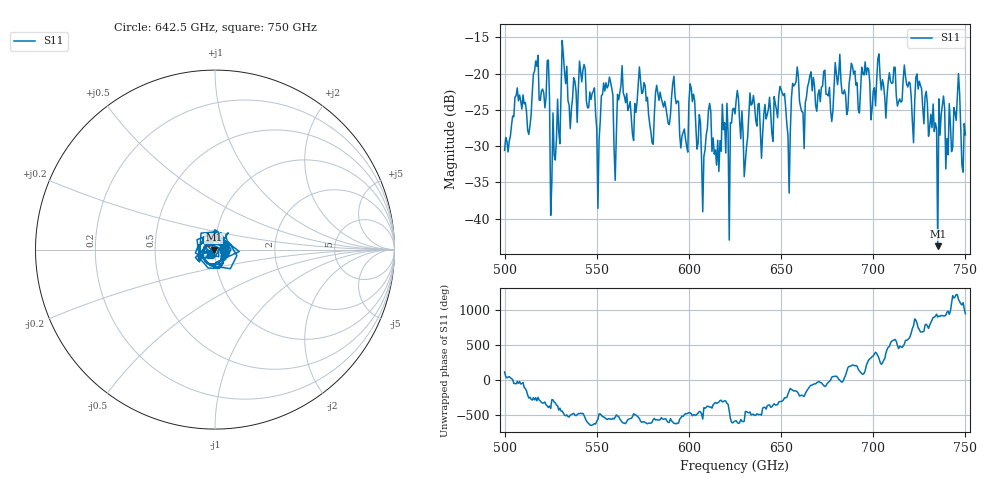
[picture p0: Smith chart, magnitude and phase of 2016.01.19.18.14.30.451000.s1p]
!Created with skrf (http://scikit-rf.org).
# GHz S RI R 50.0
!freq ReS11 ImS11
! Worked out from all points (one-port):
!   401 points, 500 GHz to 750 GHz, reference 50 ohm
!   lowest |S11| = -43.8 dB at 735 GHz (marker M1), VSWR 1.01, Z = 49.4 + j0.00277 ohm
!   |S11| at or under -10 dB: start of sweep to end of sweep
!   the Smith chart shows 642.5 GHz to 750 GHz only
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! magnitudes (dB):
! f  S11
! 500 GHz  -30.6
! 506.9 GHz  -22.0
! 513.1 GHz  -28.4
! 516.9 GHz  -18.3
! 523.1 GHz  -18.2
! 526.2 GHz  -25.4
! 531.2 GHz  -15.4
! 542.5 GHz  -19.5
! 550.6 GHz  -38.6
! 553.8 GHz  -21.3
! 560.6 GHz  -28.4
! 562.5 GHz  -22.7
! 593.8 GHz  -23.8
! 598.1 GHz  -29.0
! 601.9 GHz  -23.9
! 608.1 GHz  -31.4
! 610.6 GHz  -25.0
! 625 GHz  -25.6
! 630.6 GHz  -32.1
! 634.4 GHz  -24.2
! 650.6 GHz  -22.7
! 653.8 GHz  -28.6
! 656.2 GHz  -21.4
! 687.5 GHz  -20.2
! 718.8 GHz  -21.9
! 735 GHz  -43.8
! 745.6 GHz  -23.2
! 750 GHz  -28.5
